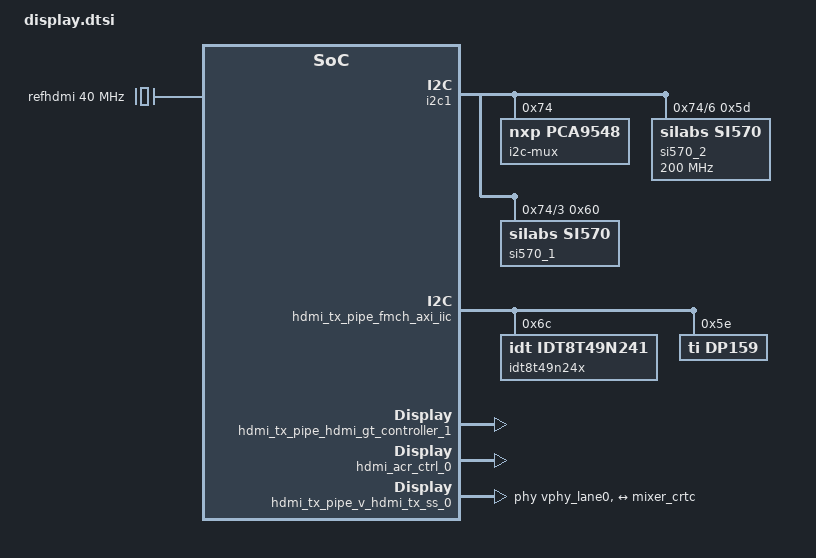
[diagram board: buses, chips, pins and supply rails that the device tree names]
&i2c1 {
	i2c-mux@74 {
		compatible = "nxp,pca9548";
		#address-cells = <1>;
		#size-cells = <0>;
		reg = <0x74>;

		i2c@6 {
			#address-cells = <1>;
			#size-cells = <0>;
			reg = <6>;

			si570_2: clock-generator@5d {
				#clock-cells = <0>;
				compatible = "silabs,si570";
				reg = <0x5d>;
				temperature-stability = <50>;
				factory-fout = <156250000>;
				clock-frequency = <200000000>;
				clock-output-names = "si570_mgt";
			};
		};

		i2c@3 {
			#address-cells = <1>;
			#size-cells = <0>;
			reg = <3>;

			si570_1: clock-generator@60 {
				#clock-cells = <0>;
				compatible = "silabs,si570";
				reg = <0x60>;
				temperature-stability = <50>;
				factory-fout = <200000000>;
			};
		};
	};
};

&amba_pl {
	display_pipe_v_mix_0: v_mix@a4040000 {
		clock-names = "ap_clk";
		clocks = <&misc_clk_0>;
		compatible = "xlnx,mixer-5.0";
		interrupt-names = "interrupt";
		interrupt-parent = <&gic>;
		interrupts = <0 86 4>;
		reg = <0x0 0xa4040000 0x0 0x10000>;
		reset-gpios = <&gpio0 26 1>;
		xlnx,bpc = <8>;
		xlnx,dma-addr-width = <64>;
		xlnx,num-layers = <10>;
		xlnx,ppc = <4>;

		crtc_mixer_port: port@0 {
			reg = <0>;
			mixer_crtc: endpoint {
			        remote-endpoint = <&hdmi_encoder>;
			};
		};
		xx_mix_master: layer_0 {
			/*dmas = <&v_frmbuf_rd 0>;
			dma-names = "dma0";*/
			xlnx,layer-id = <0>;
			xlnx,layer-max-height = <2160>;
			xlnx,layer-max-width = <3840>;
			/*xlnx,layer-streaming;*/
			xlnx,vformat = "RG24";
		};
		xx_mix_overlay_1: layer_1 {
			xlnx,layer-alpha ;
			xlnx,layer-id = <1>;
			xlnx,layer-max-width = <3840>;
			xlnx,vformat = "BG24";
		};
		xx_mix_overlay_2: layer_2 {
			xlnx,layer-alpha ;
			xlnx,layer-id = <2>;
			xlnx,layer-max-width = <3840>;
			xlnx,vformat = "NV12";
		};
		xx_mix_overlay_3: layer_3 {
			xlnx,layer-alpha ;
			xlnx,layer-id = <3>;
			xlnx,layer-max-width = <3840>;
			xlnx,vformat = "YUYV";
		};
		xx_mix_overlay_4: layer_4 {
			xlnx,layer-alpha ;
			xlnx,layer-id = <4>;
			xlnx,layer-max-width = <3840>;
			xlnx,vformat = "YUYV";
		};
		xx_mix_overlay_5: layer_5 {
			xlnx,layer-alpha ;
			xlnx,layer-id = <5>;
			xlnx,layer-max-width = <3840>;
			xlnx,vformat = "YUYV";
		};
		xx_mix_overlay_6: layer_6 {
			xlnx,layer-alpha ;
			xlnx,layer-id = <6>;
			xlnx,layer-max-width = <3840>;
			xlnx,vformat = "YUYV";
		};
		xx_mix_overlay_7: layer_7 {
			xlnx,layer-alpha ;
			xlnx,layer-id = <7>;
			xlnx,layer-max-width = <3840>;
			xlnx,vformat = "YUYV";
		};
		xx_mix_overlay_8: layer_8 {
			xlnx,layer-alpha ;
			xlnx,layer-id = <8>;
			xlnx,layer-max-width = <3840>;
			xlnx,vformat = "YUYV";
		};
		xx_mix_overlay_9: layer_9 {
			xlnx,layer-alpha ;
			xlnx,layer-id = <9>;
			xlnx,layer-max-width = <3840>;
			xlnx,vformat = "AR24";
			xlnx,layer-primary;
		};
	};

	refhdmi: refhdmi {
		compatible = "fixed-clock";
		#clock-cells = <0>;
		clock-frequency = <40000000>;
	};

	hdmi_tx_pipe_fmch_axi_iic: i2c@a4010000 {
		#address-cells = <1>;
		#size-cells = <0>;
		clock-names = "s_axi_aclk";
		clocks = <&versal_clk 65>;
		compatible = "xlnx,axi-iic-2.0", "xlnx,xps-iic-2.00.a";
		reg = <0x0 0xa4010000 0x0 0x10000>;
		interrupt-names = "iic2intc_irpt";
		interrupt-parent = <&gic>;
		interrupts = <0 87 4>;

		idt8t49n24x: clock-generator@6c {
			status = "okay";
			compatible = "idt,idt8t49n241";
			#clock-cells = <1>;
			reg = <0x6c>;

			clocks = <&refhdmi>;
			clock-names = "input-xtal";

			settings = [
				09 50 00 60 67 c5 6c 01 03 00 31 00 01 40 00 01 40 00 74 04 00 74 04 77 6d 00 00 00 00 00 00 ff
				ff ff ff 01 3f 00 2e 00 0d 00 00 00 01 00 00 d0 08 00 00 00 00 00 08 00 00 00 00 00 00 44 44 00
				00 00 00 00 00 00 00 00 00 00 00 00 00 00 00 00 00 00 00 00 00 00 00 00 00 00 00 00 00 00 00 00
				00 00 00 00 00 00 00 00 e9 0a 2b 20 00 00 00 0f 00 00 00 0e 00 00 0e 00 00 00 27 00 00 00 00 00
				00 00 00 00 00 00 00 00 00 00 00 00 00 00 00 00 00 00 00 00 00 00 00 00 00 00 00 00 00 00 00 00
				00 00 00 00 00 00 00 00 00 00 00 00 00 00 00 00 00 00 00 00 00 00 00 00 00 00 00 00 00 00 00 00
				00 00 00 00 00 00 00 00 00 00 00 00 00 00 00 00 00 00 00 00 00 00 00 00 00 00 00 00 00 00 00 00
				00 00 00 00 00 00 00 00 00 00 00 00 00 00 00 00 00 00 00 00 00 00 00 00 00 00 00 00 00 00 00 00
				00 00 00 00 00 00 00 00 00 00 00 00 00 00 00 00 00 00 00 00 00 00 00 00 00 00 00 00 00 00 00 00
				00 00 00 00 00 00 00 00 00 00 00 00 00 00 00 00 00 00 00 00 00 00 00 00 00 00 00 00 00 00 00 00
				00 00 00 00 00 00 00 00 00 00 00 00 00 00 00 00 00 00 00 00 00 00 00 00 00 00 00 00 00 00 00 00
				00 00 00 00 00 00 00 00 00 00 00 00 00 00 00 00 00 00 00 00 00 00 00 00 00 00 00 00 00 00 00 00
				00 00 00 00 00 00 00 00 00 00 00 00 00 00 00 00 00 00 00 00 00 00 00 00 00 00 00 00 00 00 00 00
				00 00 00 00 00 00 00 00 00 00 00 00 00 00 00 00 00 00 00 00 00 00 00 00 00 00 00 00 00 00 00 00
				00 00 00 00 00 00 00 00 00 00 00 00 00 00 00 00 00 00 00 00 00 00 00 00 00 00 00 00 00 00 00 00
				00 00 00 00 00 00 00 00 00 00 00 00 00 00 00 00 00 00 00 00 00 00 00 00 00 00 00 00 00 00 00 00
				e3 00 08 01 00 00 00 00 00 00 00 00 00 b0 00 00 00 0a 00 00 00 00 00 00 00 00 00 00 00 00 00 00
				00 00 00 00 00 00 00 00 00 00 00 00 00 00 00 00 00 00 00 00 00 00 00 00 00 00 00 00 00 00 00 00
				00 00 00 00 00 00 00 00 00 00 00 00 00 00 00 00 00 00 00 00 00 00 00 00 00 00 00 00 00 00 00 00
				00 00 00 00 00 00 00 00 00 00 00 00 00 00 00 00 00 00 00 00 00 00 00 00 00 00 00 00 00 00 00 00
				00 00 00 00 00 00 00 00 00 00 00 00 00 00 00 00 00 00 00 00 00 00 00 00 00 00 00 00 00 00 00 00
				00 00 00 00 00 00 00 00 00 00 00 00 00 00 00 00 00 00 00 00 00 00 00 00 00 00 00 00 00 00 00 00
				00 00 00 00 00 00 00 00 00 00 00 00 00 00 00 00 00 00 00 00 00 00 00 00 00 00 00 00 00 00 00 00
				00 00 00 00 00 00 00 00 00 00 00 00 00 00 00 00 00 00 00 00 00 00 00 00 00 00 00 00 00 00 00 00
				00 00 00 00 85 00 00 9c 01 d4 02 71 07 00 00 00 00 83 00 10 02 08 8c
				];
		};

		dp159: hdmi-retimer@5e {
			status = "okay";
			compatible = "ti,dp159";
			reg = <0x5e>;
			#address-cells = <1>;
			#size-cells = <0>;
			#clock-cells = <0>;
		};
	};

	hdmi_tx_pipe_hdmi_gt_controller_1: hdmi_gt_controller@a4000000 {
		clock-names = "gt_refclk0_odiv2", "gt_refclk1_odiv2", "gt_refclk2_odiv2", "sb_aclk", "axi4lite_aclk", "apb_clk", "dru-clk";
		clocks = <&misc_clk_1>, <&misc_clk_1>, <&misc_clk_6>, <&versal_clk 65>, <&versal_clk 65>, <&versal_clk 65>, <&si570_2>;
		compatible = "xlnx,hdmi-gt-controller-1.0";
		interrupt-names = "irq";
		interrupt-parent = <&gic>;
		interrupts = <0 84 4>;
		reg = <0x0 0xa4000000 0x0 0x10000>;
		xlnx,err-irq-en = <0>;
		xlnx,hdmi-fast-switch = <0>;
		xlnx,input-pixels-per-clock = <4>;
		xlnx,nidru = <1>;
		xlnx,nidru-refclk-sel = <2>;
		xlnx,rx-frl-refclk-sel = <2>;
		xlnx,rx-no-of-channels = <3>;
		xlnx,rx-pll-selection = <8>;
		xlnx,rx-protocol = <1>;
		xlnx,rx-refclk-sel = <0>;
		xlnx,transceiver-type = <7>;
		xlnx,transceiver-width = <4>;
		xlnx,tx-buffer-bypass = <1>;
		xlnx,tx-frl-refclk-sel = <2>;
		xlnx,tx-no-of-channels = <4>;
		xlnx,tx-pll-selection = <7>;
		xlnx,tx-protocol = <1>;
		xlnx,tx-refclk-sel = <1>;
		xlnx,use-gt-ch4-hdmi = <1>;
		vphy_lane0: vphy_lane@0 {
			#phy-cells = <4>;
		};
		vphy_lane1: vphy_lane@1 {
			#phy-cells = <4>;
		};
		vphy_lane2: vphy_lane@2 {
			#phy-cells = <4>;
		};
		vphy_lane3: vphy_lane@3 {
			#phy-cells = <4>;
		};
	};

	hdmi_acr_ctrl_0: hdmi_acr_ctrl@a4210000 {
		clock-names = "axi_aclk", "aud_clk", "hdmi_clk";
		clocks = <&misc_clk_1>, <&si570_1>, <&misc_clk_3>;
		compatible = "xlnx,hdmi-acr-ctrl-1.1", "xlnx,hdmi_act_ctrl";
		reg = <0x0 0xa4210000 0x0 0x10000>;
	};
// "read interface only" option for tx-audio 
	audio_pipe_audio_formatter_0: audio_formatter@a4200000 {
		clock-names = "s_axi_lite_aclk", "m_axis_mm2s_aclk", "aud_mclk";
		clocks = <&misc_clk_1>, <&si570_1>, <&si570_1>;
		compatible = "xlnx,audio-formatter-1.0", "xlnx,audio-formatter-1.0";
		interrupt-parent = <&gic>;
		interrupt-names = "irq_mm2s";
		interrupts = <0 89 4>;
		reg = <0x0 0xa4200000 0x0 0x10000>;
		xlnx,include-mm2s = <0x1>;
		xlnx,max-num-channels-mm2s = <0x2>;
		xlnx,mm2s-addr-width = <0x40>;
		xlnx,mm2s-async-clock = <0x1>;
		xlnx,mm2s-dataformat = <0x3>;
		xlnx,packing-mode-mm2s = <0x0>;
		xlnx,tx = <&hdmi_tx_pipe_v_hdmi_tx_ss_0>;
	};
	hdmi_tx_pipe_v_hdmi_tx_ss_0: v_hdmi_tx_ss@a4020000 {
		clock-names = "s_axi_cpu_aclk", "s_axis_audio_aclk", "video_clk", "s_axis_video_aclk", "txref-clk", "retimer-clk";
		clocks = <&versal_clk 65>, <&misc_clk_0>, <&misc_clk_3>, <&misc_clk_0>, <&idt8t49n24x 2>, <&dp159>;
		compatible = "xlnx,v-hdmi-tx-ss-3.1", "xlnx,v-hdmi-tx-ss-3.1";
		interrupt-names = "irq";
		interrupt-parent = <&gic>;
		interrupts = <0 85 4>;
		phy-names = "hdmi-phy0", "hdmi-phy1", "hdmi-phy2", "hdmi-phy3";
		phys = <&vphy_lane0 0 1 1 1>, <&vphy_lane1 0 1 1 1>, <&vphy_lane2 0 1 1 1>, <&vphy_lane3 0 1 1 1>;
		reg = <0x0 0xa4020000 0x0 0x20000>;
		reg-names = "hdmi-txss";
		xlnx,input-pixels-per-clock = <4>;
		xlnx,max-bits-per-component = <8>;
		xlnx,snd-pcm = <&audio_pipe_audio_formatter_0>;
		xlnx,xlnx-hdmi-acr-ctrl = <&hdmi_acr_ctrl_0>;
		xlnx,audio-enabled;

		hdmitx_ports: ports {
			#address-cells = <1>;
			#size-cells = <0>;

			encoder_hdmi_port: port@0 {
				reg = <0>;
				hdmi_encoder: endpoint {
				        remote-endpoint = <&mixer_crtc>;
				};
			};
		};
	};
};
